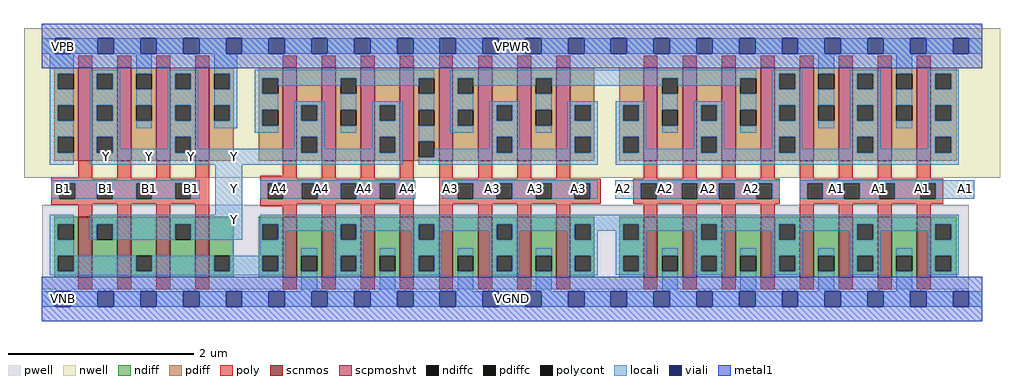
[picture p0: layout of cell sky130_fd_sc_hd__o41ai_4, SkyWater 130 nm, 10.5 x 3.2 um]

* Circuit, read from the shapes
.subckt sky130_fd_sc_hd__o41ai_4 A1 A2 A3 A4 B1 VGND VNB VPB VPWR Y
XM1 Y B1 n1 VNB sky130_fd_pr__nfet_01v8 w=0.65 l=0.15 m=4
XM2 VGND A4 n1 VNB sky130_fd_pr__nfet_01v8 w=0.65 l=0.15 m=4
XM3 VGND A3 n1 VNB sky130_fd_pr__nfet_01v8 w=0.65 l=0.15 m=4
XM4 VGND A2 n1 VNB sky130_fd_pr__nfet_01v8 w=0.65 l=0.15 m=4
XM5 VGND A1 n1 VNB sky130_fd_pr__nfet_01v8 w=0.65 l=0.15 m=4
XM6 Y B1 VPWR VPB sky130_fd_pr__pfet_01v8_hvt w=1 l=0.15 m=4
XM7 Y A4 n2 VPB sky130_fd_pr__pfet_01v8_hvt w=1 l=0.15 m=4
XM8 n3 A3 n2 VPB sky130_fd_pr__pfet_01v8_hvt w=1 l=0.15 m=4
XM9 n3 A2 n4 VPB sky130_fd_pr__pfet_01v8_hvt w=1 l=0.15 m=4
XM10 VPWR A1 n4 VPB sky130_fd_pr__pfet_01v8_hvt w=1 l=0.15 m=4
.ends

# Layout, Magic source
magic
tech sky130A
magscale 1 2
<< nwell >>
rect -38 261 2062 582
<< pwell >>
rect 1 21 1995 203
rect 30 -17 64 21
<< scnmos >>
rect 79 47 109 177
rect 163 47 193 177
rect 247 47 277 177
rect 331 47 361 177
rect 519 47 549 177
rect 603 47 633 177
rect 687 47 717 177
rect 771 47 801 177
rect 855 47 885 177
rect 939 47 969 177
rect 1023 47 1053 177
rect 1107 47 1137 177
rect 1295 47 1325 177
rect 1379 47 1409 177
rect 1463 47 1493 177
rect 1547 47 1577 177
rect 1631 47 1661 177
rect 1715 47 1745 177
rect 1799 47 1829 177
rect 1883 47 1913 177
<< scpmoshvt >>
rect 79 297 109 497
rect 163 297 193 497
rect 247 297 277 497
rect 331 297 361 497
rect 519 297 549 497
rect 603 297 633 497
rect 687 297 717 497
rect 771 297 801 497
rect 855 297 885 497
rect 939 297 969 497
rect 1023 297 1053 497
rect 1107 297 1137 497
rect 1295 297 1325 497
rect 1379 297 1409 497
rect 1463 297 1493 497
rect 1547 297 1577 497
rect 1631 297 1661 497
rect 1715 297 1745 497
rect 1799 297 1829 497
rect 1883 297 1913 497
<< ndiff >>
rect 27 161 79 177
rect 27 127 35 161
rect 69 127 79 161
rect 27 93 79 127
rect 27 59 35 93
rect 69 59 79 93
rect 27 47 79 59
rect 109 161 163 177
rect 109 127 119 161
rect 153 127 163 161
rect 109 47 163 127
rect 193 93 247 177
rect 193 59 203 93
rect 237 59 247 93
rect 193 47 247 59
rect 277 161 331 177
rect 277 127 287 161
rect 321 127 331 161
rect 277 47 331 127
rect 361 93 413 177
rect 361 59 371 93
rect 405 59 413 93
rect 361 47 413 59
rect 467 161 519 177
rect 467 127 475 161
rect 509 127 519 161
rect 467 93 519 127
rect 467 59 475 93
rect 509 59 519 93
rect 467 47 519 59
rect 549 93 603 177
rect 549 59 559 93
rect 593 59 603 93
rect 549 47 603 59
rect 633 161 687 177
rect 633 127 643 161
rect 677 127 687 161
rect 633 93 687 127
rect 633 59 643 93
rect 677 59 687 93
rect 633 47 687 59
rect 717 93 771 177
rect 717 59 727 93
rect 761 59 771 93
rect 717 47 771 59
rect 801 161 855 177
rect 801 127 811 161
rect 845 127 855 161
rect 801 93 855 127
rect 801 59 811 93
rect 845 59 855 93
rect 801 47 855 59
rect 885 93 939 177
rect 885 59 895 93
rect 929 59 939 93
rect 885 47 939 59
rect 969 161 1023 177
rect 969 127 979 161
rect 1013 127 1023 161
rect 969 93 1023 127
rect 969 59 979 93
rect 1013 59 1023 93
rect 969 47 1023 59
rect 1053 93 1107 177
rect 1053 59 1063 93
rect 1097 59 1107 93
rect 1053 47 1107 59
rect 1137 161 1189 177
rect 1137 127 1147 161
rect 1181 127 1189 161
rect 1137 93 1189 127
rect 1137 59 1147 93
rect 1181 59 1189 93
rect 1137 47 1189 59
rect 1243 161 1295 177
rect 1243 127 1251 161
rect 1285 127 1295 161
rect 1243 93 1295 127
rect 1243 59 1251 93
rect 1285 59 1295 93
rect 1243 47 1295 59
rect 1325 93 1379 177
rect 1325 59 1335 93
rect 1369 59 1379 93
rect 1325 47 1379 59
rect 1409 161 1463 177
rect 1409 127 1419 161
rect 1453 127 1463 161
rect 1409 93 1463 127
rect 1409 59 1419 93
rect 1453 59 1463 93
rect 1409 47 1463 59
rect 1493 93 1547 177
rect 1493 59 1503 93
rect 1537 59 1547 93
rect 1493 47 1547 59
rect 1577 161 1631 177
rect 1577 127 1587 161
rect 1621 127 1631 161
rect 1577 93 1631 127
rect 1577 59 1587 93
rect 1621 59 1631 93
rect 1577 47 1631 59
rect 1661 93 1715 177
rect 1661 59 1671 93
rect 1705 59 1715 93
rect 1661 47 1715 59
rect 1745 161 1799 177
rect 1745 127 1755 161
rect 1789 127 1799 161
rect 1745 93 1799 127
rect 1745 59 1755 93
rect 1789 59 1799 93
rect 1745 47 1799 59
rect 1829 93 1883 177
rect 1829 59 1839 93
rect 1873 59 1883 93
rect 1829 47 1883 59
rect 1913 161 1969 177
rect 1913 127 1923 161
rect 1957 127 1969 161
rect 1913 93 1969 127
rect 1913 59 1923 93
rect 1957 59 1969 93
rect 1913 47 1969 59
<< pdiff >>
rect 27 485 79 497
rect 27 451 35 485
rect 69 451 79 485
rect 27 417 79 451
rect 27 383 35 417
rect 69 383 79 417
rect 27 349 79 383
rect 27 315 35 349
rect 69 315 79 349
rect 27 297 79 315
rect 109 485 163 497
rect 109 451 119 485
rect 153 451 163 485
rect 109 417 163 451
rect 109 383 119 417
rect 153 383 163 417
rect 109 349 163 383
rect 109 315 119 349
rect 153 315 163 349
rect 109 297 163 315
rect 193 485 247 497
rect 193 451 203 485
rect 237 451 247 485
rect 193 417 247 451
rect 193 383 203 417
rect 237 383 247 417
rect 193 297 247 383
rect 277 485 331 497
rect 277 451 287 485
rect 321 451 331 485
rect 277 417 331 451
rect 277 383 287 417
rect 321 383 331 417
rect 277 349 331 383
rect 277 315 287 349
rect 321 315 331 349
rect 277 297 331 315
rect 361 485 413 497
rect 361 451 371 485
rect 405 451 413 485
rect 361 417 413 451
rect 361 383 371 417
rect 405 383 413 417
rect 361 297 413 383
rect 467 475 519 497
rect 467 441 475 475
rect 509 441 519 475
rect 467 407 519 441
rect 467 373 475 407
rect 509 373 519 407
rect 467 297 519 373
rect 549 417 603 497
rect 549 383 559 417
rect 593 383 603 417
rect 549 349 603 383
rect 549 315 559 349
rect 593 315 603 349
rect 549 297 603 315
rect 633 475 687 497
rect 633 441 643 475
rect 677 441 687 475
rect 633 407 687 441
rect 633 373 643 407
rect 677 373 687 407
rect 633 297 687 373
rect 717 417 771 497
rect 717 383 727 417
rect 761 383 771 417
rect 717 349 771 383
rect 717 315 727 349
rect 761 315 771 349
rect 717 297 771 315
rect 801 475 855 497
rect 801 441 811 475
rect 845 441 855 475
rect 801 407 855 441
rect 801 373 811 407
rect 845 373 855 407
rect 801 339 855 373
rect 801 305 811 339
rect 845 305 855 339
rect 801 297 855 305
rect 885 475 939 497
rect 885 441 895 475
rect 929 441 939 475
rect 885 407 939 441
rect 885 373 895 407
rect 929 373 939 407
rect 885 297 939 373
rect 969 417 1023 497
rect 969 383 979 417
rect 1013 383 1023 417
rect 969 349 1023 383
rect 969 315 979 349
rect 1013 315 1023 349
rect 969 297 1023 315
rect 1053 475 1107 497
rect 1053 441 1063 475
rect 1097 441 1107 475
rect 1053 407 1107 441
rect 1053 373 1063 407
rect 1097 373 1107 407
rect 1053 297 1107 373
rect 1137 417 1189 497
rect 1137 383 1147 417
rect 1181 383 1189 417
rect 1137 349 1189 383
rect 1137 315 1147 349
rect 1181 315 1189 349
rect 1137 297 1189 315
rect 1243 417 1295 497
rect 1243 383 1251 417
rect 1285 383 1295 417
rect 1243 349 1295 383
rect 1243 315 1251 349
rect 1285 315 1295 349
rect 1243 297 1295 315
rect 1325 475 1379 497
rect 1325 441 1335 475
rect 1369 441 1379 475
rect 1325 407 1379 441
rect 1325 373 1335 407
rect 1369 373 1379 407
rect 1325 297 1379 373
rect 1409 417 1463 497
rect 1409 383 1419 417
rect 1453 383 1463 417
rect 1409 349 1463 383
rect 1409 315 1419 349
rect 1453 315 1463 349
rect 1409 297 1463 315
rect 1493 475 1547 497
rect 1493 441 1503 475
rect 1537 441 1547 475
rect 1493 407 1547 441
rect 1493 373 1503 407
rect 1537 373 1547 407
rect 1493 297 1547 373
rect 1577 485 1631 497
rect 1577 451 1587 485
rect 1621 451 1631 485
rect 1577 417 1631 451
rect 1577 383 1587 417
rect 1621 383 1631 417
rect 1577 349 1631 383
rect 1577 315 1587 349
rect 1621 315 1631 349
rect 1577 297 1631 315
rect 1661 485 1715 497
rect 1661 451 1671 485
rect 1705 451 1715 485
rect 1661 417 1715 451
rect 1661 383 1671 417
rect 1705 383 1715 417
rect 1661 297 1715 383
rect 1745 485 1799 497
rect 1745 451 1755 485
rect 1789 451 1799 485
rect 1745 417 1799 451
rect 1745 383 1755 417
rect 1789 383 1799 417
rect 1745 349 1799 383
rect 1745 315 1755 349
rect 1789 315 1799 349
rect 1745 297 1799 315
rect 1829 485 1883 497
rect 1829 451 1839 485
rect 1873 451 1883 485
rect 1829 417 1883 451
rect 1829 383 1839 417
rect 1873 383 1883 417
rect 1829 297 1883 383
rect 1913 485 1969 497
rect 1913 451 1923 485
rect 1957 451 1969 485
rect 1913 417 1969 451
rect 1913 383 1923 417
rect 1957 383 1969 417
rect 1913 349 1969 383
rect 1913 315 1923 349
rect 1957 315 1969 349
rect 1913 297 1969 315
<< ndiffc >>
rect 35 127 69 161
rect 35 59 69 93
rect 119 127 153 161
rect 203 59 237 93
rect 287 127 321 161
rect 371 59 405 93
rect 475 127 509 161
rect 475 59 509 93
rect 559 59 593 93
rect 643 127 677 161
rect 643 59 677 93
rect 727 59 761 93
rect 811 127 845 161
rect 811 59 845 93
rect 895 59 929 93
rect 979 127 1013 161
rect 979 59 1013 93
rect 1063 59 1097 93
rect 1147 127 1181 161
rect 1147 59 1181 93
rect 1251 127 1285 161
rect 1251 59 1285 93
rect 1335 59 1369 93
rect 1419 127 1453 161
rect 1419 59 1453 93
rect 1503 59 1537 93
rect 1587 127 1621 161
rect 1587 59 1621 93
rect 1671 59 1705 93
rect 1755 127 1789 161
rect 1755 59 1789 93
rect 1839 59 1873 93
rect 1923 127 1957 161
rect 1923 59 1957 93
<< pdiffc >>
rect 35 451 69 485
rect 35 383 69 417
rect 35 315 69 349
rect 119 451 153 485
rect 119 383 153 417
rect 119 315 153 349
rect 203 451 237 485
rect 203 383 237 417
rect 287 451 321 485
rect 287 383 321 417
rect 287 315 321 349
rect 371 451 405 485
rect 371 383 405 417
rect 475 441 509 475
rect 475 373 509 407
rect 559 383 593 417
rect 559 315 593 349
rect 643 441 677 475
rect 643 373 677 407
rect 727 383 761 417
rect 727 315 761 349
rect 811 441 845 475
rect 811 373 845 407
rect 811 305 845 339
rect 895 441 929 475
rect 895 373 929 407
rect 979 383 1013 417
rect 979 315 1013 349
rect 1063 441 1097 475
rect 1063 373 1097 407
rect 1147 383 1181 417
rect 1147 315 1181 349
rect 1251 383 1285 417
rect 1251 315 1285 349
rect 1335 441 1369 475
rect 1335 373 1369 407
rect 1419 383 1453 417
rect 1419 315 1453 349
rect 1503 441 1537 475
rect 1503 373 1537 407
rect 1587 451 1621 485
rect 1587 383 1621 417
rect 1587 315 1621 349
rect 1671 451 1705 485
rect 1671 383 1705 417
rect 1755 451 1789 485
rect 1755 383 1789 417
rect 1755 315 1789 349
rect 1839 451 1873 485
rect 1839 383 1873 417
rect 1923 451 1957 485
rect 1923 383 1957 417
rect 1923 315 1957 349
<< poly >>
rect 79 497 109 523
rect 163 497 193 523
rect 247 497 277 523
rect 331 497 361 523
rect 519 497 549 523
rect 603 497 633 523
rect 687 497 717 523
rect 771 497 801 523
rect 855 497 885 523
rect 939 497 969 523
rect 1023 497 1053 523
rect 1107 497 1137 523
rect 1295 497 1325 523
rect 1379 497 1409 523
rect 1463 497 1493 523
rect 1547 497 1577 523
rect 1631 497 1661 523
rect 1715 497 1745 523
rect 1799 497 1829 523
rect 1883 497 1913 523
rect 79 261 109 297
rect 21 259 109 261
rect 163 259 193 297
rect 247 259 277 297
rect 331 259 361 297
rect 519 265 549 297
rect 21 249 361 259
rect 21 215 38 249
rect 72 215 119 249
rect 153 215 203 249
rect 237 215 287 249
rect 321 215 361 249
rect 21 205 361 215
rect 21 203 109 205
rect 79 177 109 203
rect 163 177 193 205
rect 247 177 277 205
rect 331 177 361 205
rect 470 259 549 265
rect 603 259 633 297
rect 687 259 717 297
rect 771 259 801 297
rect 470 249 801 259
rect 470 215 486 249
rect 520 215 560 249
rect 594 215 643 249
rect 677 215 727 249
rect 761 215 801 249
rect 470 205 801 215
rect 470 199 549 205
rect 519 177 549 199
rect 603 177 633 205
rect 687 177 717 205
rect 771 177 801 205
rect 855 259 885 297
rect 939 259 969 297
rect 1023 259 1053 297
rect 1107 259 1137 297
rect 1295 259 1325 297
rect 1379 259 1409 297
rect 1463 259 1493 297
rect 1547 259 1577 297
rect 1631 259 1661 297
rect 1715 259 1745 297
rect 1799 259 1829 297
rect 1883 259 1913 297
rect 855 249 1203 259
rect 855 215 895 249
rect 929 215 978 249
rect 1012 215 1063 249
rect 1097 215 1146 249
rect 1180 215 1203 249
rect 855 205 1203 215
rect 1273 249 1588 259
rect 1273 215 1289 249
rect 1323 215 1377 249
rect 1411 215 1457 249
rect 1491 215 1538 249
rect 1572 215 1588 249
rect 1273 205 1588 215
rect 1631 249 1940 259
rect 1631 215 1647 249
rect 1681 215 1726 249
rect 1760 215 1802 249
rect 1836 215 1890 249
rect 1924 215 1940 249
rect 1631 205 1940 215
rect 855 177 885 205
rect 939 177 969 205
rect 1023 177 1053 205
rect 1107 177 1137 205
rect 1295 177 1325 205
rect 1379 177 1409 205
rect 1463 177 1493 205
rect 1547 177 1577 205
rect 1631 177 1661 205
rect 1715 177 1745 205
rect 1799 177 1829 205
rect 1883 177 1913 205
rect 79 21 109 47
rect 163 21 193 47
rect 247 21 277 47
rect 331 21 361 47
rect 519 21 549 47
rect 603 21 633 47
rect 687 21 717 47
rect 771 21 801 47
rect 855 21 885 47
rect 939 21 969 47
rect 1023 21 1053 47
rect 1107 21 1137 47
rect 1295 21 1325 47
rect 1379 21 1409 47
rect 1463 21 1493 47
rect 1547 21 1577 47
rect 1631 21 1661 47
rect 1715 21 1745 47
rect 1799 21 1829 47
rect 1883 21 1913 47
<< polycont >>
rect 38 215 72 249
rect 119 215 153 249
rect 203 215 237 249
rect 287 215 321 249
rect 486 215 520 249
rect 560 215 594 249
rect 643 215 677 249
rect 727 215 761 249
rect 895 215 929 249
rect 978 215 1012 249
rect 1063 215 1097 249
rect 1146 215 1180 249
rect 1289 215 1323 249
rect 1377 215 1411 249
rect 1457 215 1491 249
rect 1538 215 1572 249
rect 1647 215 1681 249
rect 1726 215 1760 249
rect 1802 215 1836 249
rect 1890 215 1924 249
<< locali >>
rect 0 527 29 561
rect 63 527 121 561
rect 155 527 213 561
rect 247 527 305 561
rect 339 527 397 561
rect 431 527 489 561
rect 523 527 581 561
rect 615 527 673 561
rect 707 527 765 561
rect 799 527 857 561
rect 891 527 949 561
rect 983 527 1041 561
rect 1075 527 1133 561
rect 1167 527 1225 561
rect 1259 527 1317 561
rect 1351 527 1409 561
rect 1443 527 1501 561
rect 1535 527 1593 561
rect 1627 527 1685 561
rect 1719 527 1777 561
rect 1811 527 1869 561
rect 1903 527 1961 561
rect 1995 527 2024 561
rect 17 485 69 527
rect 17 451 35 485
rect 17 417 69 451
rect 17 383 35 417
rect 17 349 69 383
rect 17 315 35 349
rect 17 289 69 315
rect 103 485 169 493
rect 103 451 119 485
rect 153 451 169 485
rect 103 417 169 451
rect 103 383 119 417
rect 153 383 169 417
rect 103 349 169 383
rect 203 485 237 527
rect 203 417 237 451
rect 203 367 237 383
rect 271 485 337 493
rect 271 451 287 485
rect 321 451 337 485
rect 271 417 337 451
rect 271 383 287 417
rect 321 383 337 417
rect 103 315 119 349
rect 153 323 169 349
rect 271 349 337 383
rect 371 485 421 527
rect 405 451 421 485
rect 371 417 421 451
rect 405 383 421 417
rect 371 367 421 383
rect 459 475 845 493
rect 459 441 475 475
rect 509 459 643 475
rect 459 407 509 441
rect 677 459 811 475
rect 459 373 475 407
rect 459 357 509 373
rect 543 417 609 425
rect 543 383 559 417
rect 593 383 609 417
rect 271 323 287 349
rect 153 315 287 323
rect 321 323 337 349
rect 543 349 609 383
rect 643 407 677 441
rect 643 357 677 373
rect 711 417 777 425
rect 711 383 727 417
rect 761 383 777 417
rect 543 323 559 349
rect 321 315 559 323
rect 593 323 609 349
rect 711 349 777 383
rect 711 323 727 349
rect 593 315 727 323
rect 761 315 777 349
rect 103 289 777 315
rect 811 407 845 441
rect 811 339 845 373
rect 879 475 1537 493
rect 879 441 895 475
rect 929 459 1063 475
rect 879 407 929 441
rect 1097 459 1335 475
rect 879 373 895 407
rect 879 357 929 373
rect 963 417 1029 425
rect 963 383 979 417
rect 1013 383 1029 417
rect 963 349 1029 383
rect 1063 407 1097 441
rect 1369 459 1503 475
rect 1063 357 1097 373
rect 1131 417 1197 425
rect 1131 383 1147 417
rect 1181 383 1197 417
rect 963 323 979 349
rect 845 315 979 323
rect 1013 323 1029 349
rect 1131 349 1197 383
rect 1131 323 1147 349
rect 1013 315 1147 323
rect 1181 315 1197 349
rect 845 305 1197 315
rect 811 289 1197 305
rect 1235 417 1301 425
rect 1235 383 1251 417
rect 1285 383 1301 417
rect 1235 349 1301 383
rect 1335 407 1369 441
rect 1335 357 1369 373
rect 1403 417 1469 425
rect 1403 383 1419 417
rect 1453 383 1469 417
rect 1235 315 1251 349
rect 1285 323 1301 349
rect 1403 349 1469 383
rect 1503 407 1537 441
rect 1503 357 1537 373
rect 1571 485 1637 493
rect 1571 451 1587 485
rect 1621 451 1637 485
rect 1571 417 1637 451
rect 1571 383 1587 417
rect 1621 383 1637 417
rect 1403 323 1419 349
rect 1285 315 1419 323
rect 1453 323 1469 349
rect 1571 349 1637 383
rect 1671 485 1705 527
rect 1671 417 1705 451
rect 1671 367 1705 383
rect 1739 485 1805 493
rect 1739 451 1755 485
rect 1789 451 1805 485
rect 1739 417 1805 451
rect 1739 383 1755 417
rect 1789 383 1805 417
rect 1571 323 1587 349
rect 1453 315 1587 323
rect 1621 323 1637 349
rect 1739 349 1805 383
rect 1839 485 1873 527
rect 1839 417 1873 451
rect 1839 367 1873 383
rect 1907 485 1973 493
rect 1907 451 1923 485
rect 1957 451 1973 485
rect 1907 417 1973 451
rect 1907 383 1923 417
rect 1957 383 1973 417
rect 1739 323 1755 349
rect 1621 315 1755 323
rect 1789 323 1805 349
rect 1907 349 1973 383
rect 1907 323 1923 349
rect 1789 315 1923 323
rect 1957 315 1973 349
rect 1235 289 1973 315
rect 21 249 340 255
rect 21 215 38 249
rect 72 215 119 249
rect 153 215 203 249
rect 237 215 287 249
rect 321 215 340 249
rect 374 181 432 289
rect 470 249 804 255
rect 470 215 486 249
rect 520 215 560 249
rect 594 215 643 249
rect 677 215 727 249
rect 761 215 804 249
rect 862 249 1196 255
rect 862 215 895 249
rect 929 215 978 249
rect 1012 215 1063 249
rect 1097 215 1146 249
rect 1180 215 1196 249
rect 1234 249 1588 255
rect 1234 215 1289 249
rect 1323 215 1377 249
rect 1411 215 1457 249
rect 1491 215 1538 249
rect 1572 215 1588 249
rect 1631 249 2007 255
rect 1631 215 1647 249
rect 1681 215 1726 249
rect 1760 215 1802 249
rect 1836 215 1890 249
rect 1924 215 2007 249
rect 17 161 69 181
rect 17 127 35 161
rect 103 161 432 181
rect 103 127 119 161
rect 153 127 287 161
rect 321 127 432 161
rect 470 161 1973 181
rect 470 127 475 161
rect 509 147 643 161
rect 509 127 525 147
rect 17 93 69 127
rect 470 93 525 127
rect 627 127 643 147
rect 677 147 811 161
rect 677 127 693 147
rect 17 59 35 93
rect 69 59 203 93
rect 237 59 371 93
rect 405 59 475 93
rect 509 59 525 93
rect 17 51 525 59
rect 559 93 593 109
rect 559 17 593 59
rect 627 93 693 127
rect 795 127 811 147
rect 845 147 979 161
rect 845 127 861 147
rect 627 59 643 93
rect 677 59 693 93
rect 627 51 693 59
rect 727 93 761 109
rect 727 17 761 59
rect 795 93 861 127
rect 963 127 979 147
rect 1013 147 1147 161
rect 1013 127 1029 147
rect 795 59 811 93
rect 845 59 861 93
rect 795 51 861 59
rect 895 93 929 109
rect 895 17 929 59
rect 963 93 1029 127
rect 1131 127 1147 147
rect 1181 147 1251 161
rect 1181 127 1197 147
rect 963 59 979 93
rect 1013 59 1029 93
rect 963 51 1029 59
rect 1063 93 1097 109
rect 1063 17 1097 59
rect 1131 93 1197 127
rect 1131 59 1147 93
rect 1181 59 1197 93
rect 1131 51 1197 59
rect 1235 127 1251 147
rect 1285 147 1419 161
rect 1285 127 1301 147
rect 1235 93 1301 127
rect 1403 127 1419 147
rect 1453 147 1587 161
rect 1453 127 1469 147
rect 1235 59 1251 93
rect 1285 59 1301 93
rect 1235 52 1301 59
rect 1335 93 1369 109
rect 1335 17 1369 59
rect 1403 93 1469 127
rect 1571 127 1587 147
rect 1621 147 1755 161
rect 1621 127 1637 147
rect 1403 59 1419 93
rect 1453 59 1469 93
rect 1403 52 1469 59
rect 1503 93 1537 109
rect 1503 17 1537 59
rect 1571 93 1637 127
rect 1739 127 1755 147
rect 1789 147 1923 161
rect 1789 127 1805 147
rect 1571 59 1587 93
rect 1621 59 1637 93
rect 1571 52 1637 59
rect 1671 93 1705 109
rect 1671 17 1705 59
rect 1739 93 1805 127
rect 1907 127 1923 147
rect 1957 127 1973 161
rect 1739 59 1755 93
rect 1789 59 1805 93
rect 1739 52 1805 59
rect 1839 93 1873 109
rect 1839 17 1873 59
rect 1907 93 1973 127
rect 1907 59 1923 93
rect 1957 59 1973 93
rect 1907 52 1973 59
rect 0 -17 29 17
rect 63 -17 121 17
rect 155 -17 213 17
rect 247 -17 305 17
rect 339 -17 397 17
rect 431 -17 489 17
rect 523 -17 581 17
rect 615 -17 673 17
rect 707 -17 765 17
rect 799 -17 857 17
rect 891 -17 949 17
rect 983 -17 1041 17
rect 1075 -17 1133 17
rect 1167 -17 1225 17
rect 1259 -17 1317 17
rect 1351 -17 1409 17
rect 1443 -17 1501 17
rect 1535 -17 1593 17
rect 1627 -17 1685 17
rect 1719 -17 1777 17
rect 1811 -17 1869 17
rect 1903 -17 1961 17
rect 1995 -17 2024 17
<< viali >>
rect 29 527 63 561
rect 121 527 155 561
rect 213 527 247 561
rect 305 527 339 561
rect 397 527 431 561
rect 489 527 523 561
rect 581 527 615 561
rect 673 527 707 561
rect 765 527 799 561
rect 857 527 891 561
rect 949 527 983 561
rect 1041 527 1075 561
rect 1133 527 1167 561
rect 1225 527 1259 561
rect 1317 527 1351 561
rect 1409 527 1443 561
rect 1501 527 1535 561
rect 1593 527 1627 561
rect 1685 527 1719 561
rect 1777 527 1811 561
rect 1869 527 1903 561
rect 1961 527 1995 561
rect 29 -17 63 17
rect 121 -17 155 17
rect 213 -17 247 17
rect 305 -17 339 17
rect 397 -17 431 17
rect 489 -17 523 17
rect 581 -17 615 17
rect 673 -17 707 17
rect 765 -17 799 17
rect 857 -17 891 17
rect 949 -17 983 17
rect 1041 -17 1075 17
rect 1133 -17 1167 17
rect 1225 -17 1259 17
rect 1317 -17 1351 17
rect 1409 -17 1443 17
rect 1501 -17 1535 17
rect 1593 -17 1627 17
rect 1685 -17 1719 17
rect 1777 -17 1811 17
rect 1869 -17 1903 17
rect 1961 -17 1995 17
<< metal1 >>
rect 0 561 2024 592
rect 0 527 29 561
rect 63 527 121 561
rect 155 527 213 561
rect 247 527 305 561
rect 339 527 397 561
rect 431 527 489 561
rect 523 527 581 561
rect 615 527 673 561
rect 707 527 765 561
rect 799 527 857 561
rect 891 527 949 561
rect 983 527 1041 561
rect 1075 527 1133 561
rect 1167 527 1225 561
rect 1259 527 1317 561
rect 1351 527 1409 561
rect 1443 527 1501 561
rect 1535 527 1593 561
rect 1627 527 1685 561
rect 1719 527 1777 561
rect 1811 527 1869 561
rect 1903 527 1961 561
rect 1995 527 2024 561
rect 0 496 2024 527
rect 0 17 2024 48
rect 0 -17 29 17
rect 63 -17 121 17
rect 155 -17 213 17
rect 247 -17 305 17
rect 339 -17 397 17
rect 431 -17 489 17
rect 523 -17 581 17
rect 615 -17 673 17
rect 707 -17 765 17
rect 799 -17 857 17
rect 891 -17 949 17
rect 983 -17 1041 17
rect 1075 -17 1133 17
rect 1167 -17 1225 17
rect 1259 -17 1317 17
rect 1351 -17 1409 17
rect 1443 -17 1501 17
rect 1535 -17 1593 17
rect 1627 -17 1685 17
rect 1719 -17 1777 17
rect 1811 -17 1869 17
rect 1903 -17 1961 17
rect 1995 -17 2024 17
rect 0 -48 2024 -17
<< labels >>
flabel locali s 1970 221 2004 255 0 FreeSans 250 0 0 0 A1
port 1 nsew signal input
flabel locali s 1878 221 1912 255 0 FreeSans 250 0 0 0 A1
port 1 nsew signal input
flabel locali s 1786 221 1820 255 0 FreeSans 250 0 0 0 A1
port 1 nsew signal input
flabel locali s 1694 221 1728 255 0 FreeSans 250 0 0 0 A1
port 1 nsew signal input
flabel locali s 1510 221 1544 255 0 FreeSans 250 0 0 0 A2
port 2 nsew signal input
flabel locali s 1418 221 1452 255 0 FreeSans 250 0 0 0 A2
port 2 nsew signal input
flabel locali s 1326 221 1360 255 0 FreeSans 250 0 0 0 A2
port 2 nsew signal input
flabel locali s 1234 221 1268 255 0 FreeSans 250 0 0 0 A2
port 2 nsew signal input
flabel locali s 1138 221 1172 255 0 FreeSans 250 0 0 0 A3
port 3 nsew signal input
flabel locali s 1046 221 1080 255 0 FreeSans 250 0 0 0 A3
port 3 nsew signal input
flabel locali s 954 221 988 255 0 FreeSans 250 0 0 0 A3
port 3 nsew signal input
flabel locali s 862 221 896 255 0 FreeSans 250 0 0 0 A3
port 3 nsew signal input
flabel locali s 770 221 804 255 0 FreeSans 250 0 0 0 A4
port 4 nsew signal input
flabel locali s 678 221 712 255 0 FreeSans 250 0 0 0 A4
port 4 nsew signal input
flabel locali s 586 221 620 255 0 FreeSans 250 0 0 0 A4
port 4 nsew signal input
flabel locali s 494 221 528 255 0 FreeSans 250 0 0 0 A4
port 4 nsew signal input
flabel locali s 398 153 432 187 0 FreeSans 250 0 0 0 Y
port 10 nsew signal output
flabel locali s 398 221 432 255 0 FreeSans 250 0 0 0 Y
port 10 nsew signal output
flabel locali s 398 289 432 323 0 FreeSans 250 0 0 0 Y
port 10 nsew signal output
flabel locali s 306 289 340 323 0 FreeSans 250 0 0 0 Y
port 10 nsew signal output
flabel locali s 214 289 248 323 0 FreeSans 250 0 0 0 Y
port 10 nsew signal output
flabel locali s 122 289 156 323 0 FreeSans 250 0 0 0 Y
port 10 nsew signal output
flabel locali s 306 221 340 255 0 FreeSans 250 0 0 0 B1
port 5 nsew signal input
flabel locali s 214 221 248 255 0 FreeSans 250 0 0 0 B1
port 5 nsew signal input
flabel locali s 122 221 156 255 0 FreeSans 250 0 0 0 B1
port 5 nsew signal input
flabel locali s 30 221 64 255 0 FreeSans 250 0 0 0 B1
port 5 nsew signal input
flabel pwell s 30 -17 64 17 0 FreeSans 200 0 0 0 VNB
port 7 nsew ground bidirectional
flabel nwell s 30 527 64 561 0 FreeSans 200 0 0 0 VPB
port 8 nsew power bidirectional
flabel metal1 s 30 -17 64 17 0 FreeSans 200 0 0 0 VGND
port 6 nsew ground bidirectional abutment
flabel metal1 s 30 527 64 561 0 FreeSans 200 0 0 0 VPWR
port 9 nsew power bidirectional abutment
rlabel comment s 0 0 0 0 4 o41ai_4
rlabel metal1 s 0 -48 2024 48 1 VGND
port 6 nsew ground bidirectional abutment
rlabel metal1 s 0 496 2024 592 1 VPWR
port 9 nsew power bidirectional abutment
<< properties >>
string FIXED_BBOX 0 0 2024 544
string GDS_END 748624
string GDS_FILE $PDKPATH/libs.ref/sky130_fd_sc_hd/gds/sky130_fd_sc_hd.gds
string GDS_START 730566
string LEFclass CORE
string LEFsite unithd
string LEFsymmetry X Y R90
string path 0.000 0.000 10.120 0.000 
<< end >>
